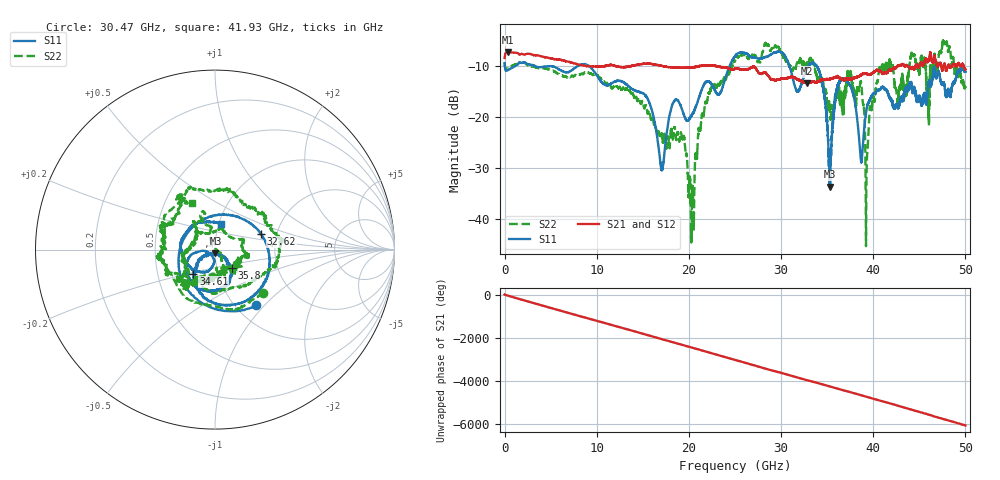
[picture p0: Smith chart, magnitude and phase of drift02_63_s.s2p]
!Created with skrf (http://scikit-rf.org).
# Hz S RI R 50.0
!freq ReS11 ImS11 ReS21 ImS21 ReS12 ImS12 ReS22 ImS22
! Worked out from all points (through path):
!   10001 points, 300 kHz to 50 GHz, reference 50 ohm
!   highest |S21| = -7.31 dB at 325.3 MHz (marker M1); lowest = -13.4 dB at 32.8 GHz (marker M2)
!   group delay of S21, straight-line fit = 335 ps
!   lowest |S11| = -33.8 dB at 35.32 GHz (marker M3), VSWR 1.04, Z = 50.2 - j2.05 ohm
!   |S11| at or under -10 dB: 3.228 GHz to 8.008 GHz (4.78 GHz wide, 85.1 % of centre); 9.105 GHz to 24.42 GHz (15.31 GHz wide, 91.3 % of centre); 33.85 GHz to end of sweep (the widest 3 of 9)
!   |S22| runs from -45.4 to -5.0 dB; largest |S21 - S12| = 0.013
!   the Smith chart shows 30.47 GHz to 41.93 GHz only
!   S11 on the Smith chart (normalised r, x): 30.47 GHz: 1.23, -0.90; 32.62 GHz: 1.65, +0.31; 34.61 GHz: 0.76, -0.21; 35.8 GHz: 1.18, -0.25; 41.93 GHz: 1.02, +0.30
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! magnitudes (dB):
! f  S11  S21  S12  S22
! 300 kHz  -9.5  -8.5  -8.4  -9.4
! 325.3 MHz  -10.9  -7.3  -7.3  -10.5
! 8.335 GHz  -9.7  -9.9  -9.9  -11.6
! 16.67 GHz  -25.6  -9.9  -9.9  -22.9
! 19.31 GHz  -18.9  -10.4  -10.3  -24.5
! 20.37 GHz  -19.5  -10.4  -10.3  -34.6
! 21.94 GHz  -13.1  -9.9  -9.9  -17.2
! 25 GHz  -8.1  -10.6  -10.6  -9.1
! 30.47 GHz  -8.2  -12.5  -12.4  -8.8
! 32.62 GHz  -11.3  -13.2  -13.4  -10.4
! 32.8 GHz  -10.7  -13.4  -13.5  -9.5
! 33.34 GHz  -9.5  -13.1  -13.2  -9.0
! 34.61 GHz  -14.9  -12.7  -12.6  -13.7
! 35.32 GHz  -33.8  -12.6  -12.6  -19.7
! 35.8 GHz  -17.1  -12.3  -12.4  -17.0
! 37.3 GHz  -13.4  -12.6  -12.5  -11.2
! 38.54 GHz  -25.9  -12.0  -12.0  -14.1
! 39.32 GHz  -18.2  -11.6  -11.6  -28.1
! 41.67 GHz  -15.9  -10.9  -11.1  -9.6
! 41.93 GHz  -16.7  -10.9  -10.9  -10.8
! 47.77 GHz  -14.5  -9.8  -9.7  -5.6
! 50 GHz  -11.2  -10.8  -10.8  -14.0
